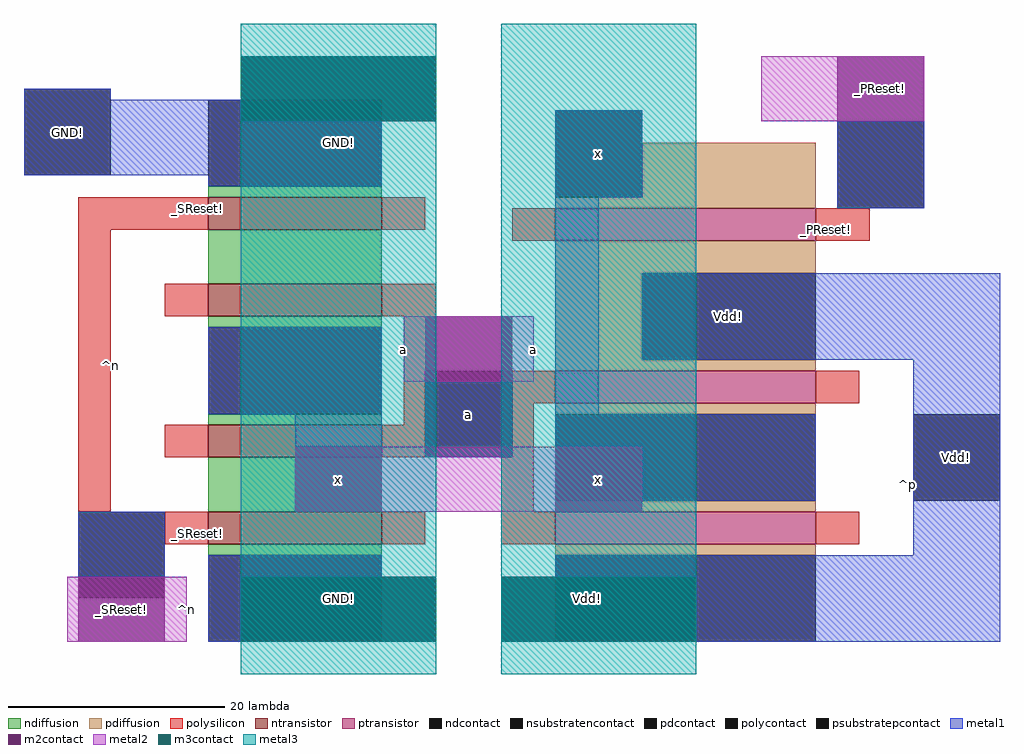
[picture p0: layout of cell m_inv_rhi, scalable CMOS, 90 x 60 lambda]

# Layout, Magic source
magic
tech scmos
<< ndiffusion >>
rect -24 48 -8 49
rect -24 40 -8 45
rect -24 36 -8 37
rect -24 27 -8 28
rect -24 19 -8 24
rect -24 15 -8 16
<< pdiffusion >>
rect 16 48 32 53
rect 8 47 32 48
rect 8 41 32 44
rect 8 33 16 41
rect 8 32 32 33
rect 8 28 32 29
rect 8 19 32 20
rect 8 15 32 16
<< ntransistor >>
rect -24 45 -8 48
rect -24 37 -8 40
rect -24 24 -8 27
rect -24 16 -8 19
<< ptransistor >>
rect 8 44 32 47
rect 8 29 32 32
rect 8 16 32 19
<< polysilicon >>
rect -36 45 -24 48
rect -8 45 -4 48
rect -36 19 -33 45
rect 4 44 8 47
rect 32 44 37 47
rect -28 37 -24 40
rect -8 37 -3 40
rect -6 32 -3 37
rect -6 27 -4 32
rect -28 24 -24 27
rect -8 24 -4 27
rect 4 29 8 32
rect 32 29 36 32
rect 4 24 6 29
rect 3 19 6 24
rect -28 16 -24 19
rect -8 16 -4 19
rect 3 16 8 19
rect 32 16 36 19
<< ndcontact >>
rect -24 49 -8 57
rect -24 28 -8 36
rect -24 7 -8 15
<< pdcontact >>
rect 8 48 16 56
rect 16 33 32 41
rect 8 20 32 28
rect 8 7 32 15
<< psubstratepcontact >>
rect -41 50 -33 58
<< nsubstratencontact >>
rect 41 20 49 28
<< polycontact >>
rect 34 47 42 55
rect -4 24 4 32
rect -36 11 -28 19
<< metal1 >>
rect -41 57 -33 58
rect -41 55 -21 57
rect -41 50 -8 55
rect -24 49 -8 50
rect 8 48 16 56
rect -24 28 -8 36
rect -16 25 -8 28
rect -4 24 4 31
rect 8 28 12 48
rect 34 47 42 55
rect 16 33 49 41
rect 8 25 32 28
rect 16 20 32 25
rect -36 13 -28 19
rect 41 15 49 33
rect -24 13 -8 15
rect 8 13 49 15
rect -24 7 -21 13
rect 21 7 49 13
<< m2contact >>
rect -21 55 -3 61
rect 34 55 42 61
rect -16 19 -8 25
rect -4 31 4 37
rect 8 19 16 25
rect -36 7 -28 13
rect -21 7 -3 13
rect 3 7 21 13
<< metal2 >>
rect 27 55 42 61
rect -6 31 6 37
rect -16 19 16 25
rect -37 7 -26 13
<< m3contact >>
rect -21 55 -3 61
rect -21 7 -3 13
rect 3 7 21 13
<< metal3 >>
rect -21 4 -3 64
rect 3 4 21 64
<< labels >>
rlabel ndcontact -12 53 -12 53 5 GND!
rlabel ndcontact -12 11 -12 11 1 GND!
rlabel pdcontact 11 11 11 11 1 Vdd!
rlabel polysilicon -25 17 -25 17 3 _SReset!
rlabel polysilicon -25 47 -25 47 3 _SReset!
rlabel pdcontact 12 52 12 52 5 x
rlabel polysilicon 33 45 33 45 1 _PReset!
rlabel metal2 12 22 12 22 1 x
rlabel metal2 -12 22 -12 22 1 x
rlabel metal2 -6 31 -6 37 3 a
rlabel metal2 6 31 6 37 7 a
rlabel pdcontact 24 37 24 37 5 Vdd!
rlabel metal1 0 28 0 28 1 a
rlabel metal2 -32 10 -32 10 3 _SReset!
rlabel metal2 -26 7 -26 13 3 ^n
rlabel metal1 -37 54 -37 54 3 GND!
rlabel space -42 6 -24 59 7 ^n
rlabel space 31 6 50 37 3 ^p
rlabel metal1 45 24 45 24 7 Vdd!
rlabel metal2 38 58 38 58 6 _PReset!
<< end >>
